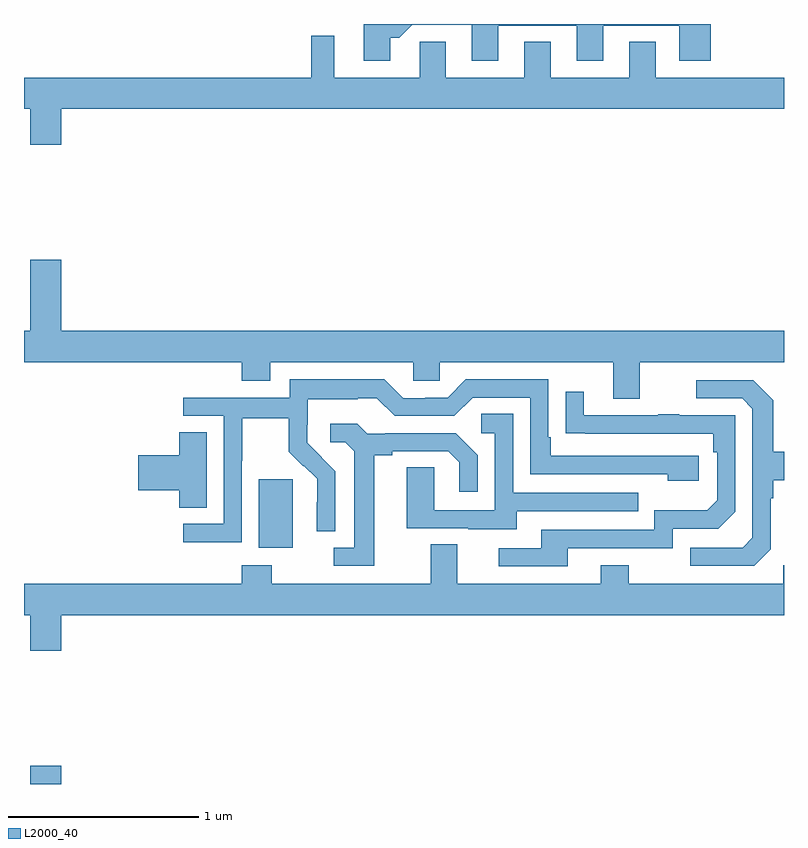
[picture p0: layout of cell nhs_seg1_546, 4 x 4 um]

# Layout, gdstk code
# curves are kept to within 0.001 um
import gdstk
lib = gdstk.Library(unit=1e-6, precision=1e-09)
def R(c, l, rs):  # rectangles x0, y0, x1, y1
    for r in rs: c.add(gdstk.rectangle(r[:2], r[2:], *l))
def P(c, l, *ps):  # polygons
    for p in ps: c.add(gdstk.Polygon(p, *l))
L2000_40 = (2000, 40)

nhs_seg1_546 = lib.new_cell('nhs_seg1_546')
R(nhs_seg1_546, L2000_40, [(141.032,528.199,141.196,528.295), (142.235,529.442,142.414,529.803)])
P(nhs_seg1_546, L2000_40, [(142.927,532.127),(142.976,532.127),(143.043,532.194),(143.357,532.194),(143.357,532.005),(143.497,532.005),(143.497,532.191),(143.909,532.191),(143.909,532.005),(144.049,532.005),(144.049,532.191),(144.449,532.191),(144.449,532.005),(144.614,532.005),(144.614,532.199),(142.787,532.199),(142.787,532.005),(142.927,532.005)],
  [(141,531.752),(141.032,531.752),(141.032,531.564),(141.196,531.564),(141.196,531.752),(145,531.752),(145,531.916),(144.325,531.916),(144.325,532.106),(144.185,532.106),(144.185,531.916),(143.773,531.916),(143.773,532.106),(143.633,532.106),(143.633,531.916),(143.221,531.916),(143.221,532.106),(143.082,532.106),(143.082,531.916),(142.633,531.916),(142.633,532.138),(142.512,532.138),(142.512,531.916),(141,531.916)],
  [(144.241,530.42),(145,530.42),(145,530.584),(141.196,530.584),(141.196,530.959),(141.032,530.959),(141.032,530.584),(141,530.584),(141,530.42),(142.145,530.42),(142.145,530.321),(142.297,530.321),(142.297,530.42),(143.049,530.42),(143.049,530.322),(143.187,530.322),(143.187,530.42),(144.101,530.42),(144.101,530.226),(144.241,530.226)],
  [(142.146,529.9),(142.149,529.9),(142.149,530.124),(142.393,530.124),(142.393,529.949),(142.47,529.872),(142.473,529.875),(142.544,529.805),(142.544,529.682),(142.542,529.682),(142.542,529.528),(142.638,529.528),(142.638,529.846),(142.492,529.994),(142.492,530.091),(142.494,530.091),(142.494,530.225),(142.757,530.225),(142.757,530.229),(142.857,530.229),(142.95,530.136),(143.265,530.136),(143.361,530.232),(143.664,530.232),(143.664,529.83),(144.389,529.83),(144.389,529.796),(144.55,529.796),(144.55,529.926),(143.773,529.926),(143.773,530.023),(143.76,530.023),(143.76,530.328),(143.325,530.328),(143.229,530.232),(143.111,530.232),(143.111,530.229),(142.995,530.229),(142.895,530.329),(142.398,530.329),(142.398,530.232),(141.837,530.232),(141.837,530.136),(142.05,530.136),(142.05,529.569),(141.837,529.569),(141.837,529.471),(142.146,529.471)],
  [(144.93,529.434),(144.93,529.703),(144.943,529.703),(144.943,529.799),(145,529.799),(145,529.947),(144.943,529.947),(144.943,530.219),(144.837,530.325),(144.537,530.325),(144.537,530.229),(144.78,530.229),(144.834,530.175),(144.834,529.494),(144.783,529.443),(144.507,529.443),(144.507,529.347),(144.843,529.347)],
  [(143.863,529.44),(144.414,529.44),(144.414,529.542),(144.654,529.542),(144.744,529.632),(144.744,530.139),(144.449,530.139),(144.449,530.144),(144.337,530.144),(144.337,530.139),(143.947,530.139),(143.947,530.263),(143.851,530.263),(143.851,530.044),(144.628,530.043),(144.628,529.946),(144.648,529.946),(144.648,529.692),(144.595,529.639),(144.318,529.639),(144.318,529.536),(143.723,529.536),(143.723,529.44),(143.499,529.44),(143.499,529.344),(143.863,529.344)],
  [(143.593,529.635),(144.233,529.635),(144.233,529.731),(143.574,529.731),(143.574,530.147),(143.406,530.147),(143.406,530.046),(143.478,530.046),(143.478,529.641),(143.16,529.641),(143.16,529.865),(143.015,529.865),(143.015,529.545),(143.339,529.545),(143.339,529.541),(143.593,529.541)],
  [(142.843,529.928),(142.939,529.928),(142.939,529.95),(143.234,529.95),(143.291,529.893),(143.291,529.737),(143.388,529.737),(143.388,529.93),(143.272,530.046),(142.9,530.046),(142.9,530.043),(142.806,530.043),(142.754,530.095),(142.611,530.095),(142.611,529.998),(142.692,529.998),(142.739,529.951),(142.739,529.443),(142.629,529.443),(142.629,529.347),(142.843,529.347)],
  [(141.961,530.051),(141.818,530.051),(141.818,529.928),(141.6,529.928),(141.6,529.745),(141.818,529.745),(141.818,529.654),(141.961,529.654)],
  [(141.196,529.088),(145,529.088),(145,529.351),(144.996,529.351),(144.996,529.252),(144.183,529.252),(144.183,529.351),(144.035,529.351),(144.035,529.252),(143.281,529.252),(143.281,529.46),(143.141,529.46),(143.141,529.252),(142.305,529.252),(142.305,529.351),(142.145,529.351),(142.145,529.252),(141,529.252),(141,529.088),(141.032,529.088),(141.032,528.9),(141.196,528.9)])

lib.write_gds('nhs_seg1_546.gds')
